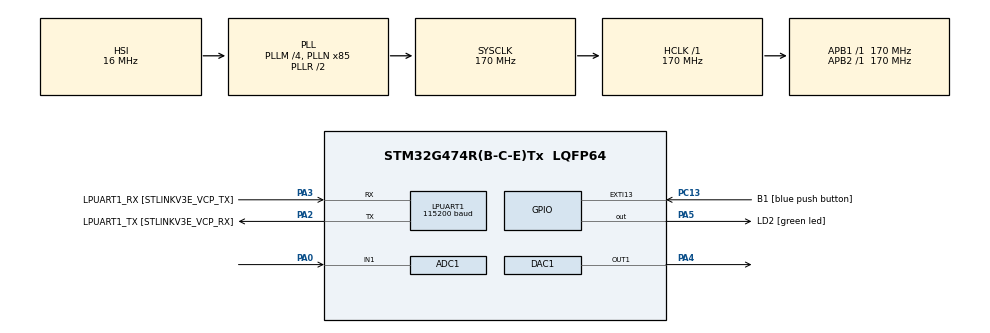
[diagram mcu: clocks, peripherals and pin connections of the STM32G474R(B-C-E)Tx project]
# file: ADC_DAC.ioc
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ADC1.Channel-0\#ChannelRegularConversion=ADC_CHANNEL_1
ADC1.NbrOfConversionFlag=1
ADC1.OffsetNumber-0\#ChannelRegularConversion=ADC_OFFSET_NONE
ADC1.Rank-0\#ChannelRegularConversion=1
ADC1.Resolution=ADC_RESOLUTION_10B
ADC1.SamplingTime-0\#ChannelRegularConversion=ADC_SAMPLETIME_2CYCLES_5
ADC1.master=1
LPUART1.BaudRate=115200
LPUART1.WordLength=UART_WORDLENGTH_8B
Mcu.Family=STM32G4
Mcu.Name=STM32G474R(B-C-E)Tx
Mcu.Package=LQFP64
NVIC.EXTI15_10_IRQn=true\:0\:0\:false\:false\:true\:true\:true\:true
NVIC.PriorityGroup=NVIC_PRIORITYGROUP_4
PA0.Mode=IN1-Single-Ended
PA0.Signal=ADC1_IN1
PA13.GPIO_Label=T_SWDIO
PA13.Mode=Serial_Wire
PA13.Signal=SYS_JTMS-SWDIO
PA14.GPIO_Label=T_SWCLK
PA14.Mode=Serial_Wire
PA14.Signal=SYS_JTCK-SWCLK
PA2.GPIO_Label=LPUART1_TX [STLINKV3E_VCP_RX]
PA2.Mode=Asynchronous
PA2.Signal=LPUART1_TX
PA3.GPIO_Label=LPUART1_RX [STLINKV3E_VCP_TX]
PA3.Mode=Asynchronous
PA3.Signal=LPUART1_RX
PA4.Signal=COMP_DAC11_group
PA5.GPIO_Label=LD2 [green led]
PA5.Signal=GPIO_Output
PB3.GPIO_Label=T_SWO
PB3.Signal=SYS_JTDO-SWO
PC13.GPIO_Label=B1 [blue push button]
PC13.Signal=GPXTI13
PC14-OSC32_IN.Mode=LSE-External-Oscillator
PC14-OSC32_IN.Signal=RCC_OSC32_IN
PC15-OSC32_OUT.Mode=LSE-External-Oscillator
PC15-OSC32_OUT.Signal=RCC_OSC32_OUT
PF0-OSC_IN.Mode=HSE-External-Oscillator
PF0-OSC_IN.Signal=RCC_OSC_IN
PF1-OSC_OUT.Mode=HSE-External-Oscillator
PF1-OSC_OUT.Signal=RCC_OSC_OUT
ProjectManager.HeapSize=0x200
ProjectManager.StackSize=0x400
ProjectManager.TargetToolchain=STM32CubeIDE
RCC.ADC12Freq_Value=170000000
RCC.ADC345Freq_Value=170000000
RCC.AHBFreq_Value=170000000
RCC.APB1Freq_Value=170000000
RCC.APB1TimFreq_Value=170000000
RCC.APB2Freq_Value=170000000
RCC.APB2TimFreq_Value=170000000
RCC.CortexFreq_Value=170000000
RCC.EXTERNAL_CLOCK_VALUE=12288000
RCC.HCLKFreq_Value=170000000
RCC.HSE_VALUE=24000000
RCC.HSI48_VALUE=48000000
RCC.HSI_VALUE=16000000
RCC.PLLM=RCC_PLLM_DIV4
RCC.PLLN=85
RCC.RTCClockSelection=RCC_RTCCLKSOURCE_LSE
RCC.SYSCLKFreq_VALUE=170000000
RCC.SYSCLKSource=RCC_SYSCLKSOURCE_PLLCLK
RCC.USBFreq_Value=170000000
RCC.VCOOutputFreq_Value=340000000
SH.COMP_DAC11_group.0=DAC1_OUT1,DAC_OUT1
VP_SYS_VS_DBSignals.Mode=DisableDeadBatterySignals
board=NUCLEO-G474RE

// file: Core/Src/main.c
/* USER CODE BEGIN Header */
/**
  ******************************************************************************
  * @file           : main.c
  * @brief          : Main program body
  ******************************************************************************
  * @attention
  *
  * Copyright (c) 2023 STMicroelectronics.
  * All rights reserved.
  *
  * This software is licensed under terms that can be found in the LICENSE file
  * in the root directory of this software component.
  * If no LICENSE file comes with this software, it is provided AS-IS.
  *
  ******************************************************************************
  */
/* USER CODE END Header */
#include "main.h"

ADC_HandleTypeDef hadc1;

DAC_HandleTypeDef hdac1;

UART_HandleTypeDef hlpuart1;

/* USER CODE BEGIN PV */
struct _ADC_tag
{
ADC_ChannelConfTypeDef Config;
uint16_t data;
};
struct _ADC_tag ADC1_Channel =
{

	.Config.Channel = ADC_CHANNEL_1,
	.Config.Rank = ADC_REGULAR_RANK_1,
	.Config.SamplingTime = ADC_SAMPLETIME_640CYCLES_5,
	.Config.SingleDiff = ADC_SINGLE_ENDED,
	.Config.OffsetNumber = ADC_OFFSET_NONE,
	.Config.Offset = 0,
	.data = 0

};
uint16_t DAC_Output=0;
float ADC_V_Read;
float Volt;
uint16_t DAC_Bit;
/* USER CODE END PV */

void SystemClock_Config(void);
static void MX_GPIO_Init(void);
static void MX_LPUART1_UART_Init(void);
static void MX_ADC1_Init(void);
static void MX_DAC1_Init(void);
/* USER CODE BEGIN PFP */
void ADC_Read_blocking();
void DAC_Update();
/* USER CODE END PFP */

int main(void)
{

  /* MCU Configuration--------------------------------------------------------*/

  /* Reset of all peripherals, Initializes the Flash interface and the Systick. */
  HAL_Init();

  /* Configure the system clock */
  SystemClock_Config();

  /* Initialize all configured peripherals */
  MX_GPIO_Init();
  MX_LPUART1_UART_Init();
  MX_ADC1_Init();
  MX_DAC1_Init();
  /* USER CODE BEGIN 2 */
  HAL_ADCEx_Calibration_Start(&hadc1, ADC_SINGLE_ENDED);
  HAL_DAC_SetValue(&hdac1, DAC_CHANNEL_1, DAC_ALIGN_12B_R, 2048);
  HAL_DAC_Start(&hdac1, DAC_CHANNEL_1);
  /* USER CODE END 2 */

  /* Infinite loop */
  while (1)
  {

    /* USER CODE BEGIN 3 */
	  ADC_Read_blocking();
	  DAC_Update();
  }
  /* USER CODE END 3 */
}

void SystemClock_Config(void)
{
  RCC_OscInitTypeDef RCC_OscInitStruct = {0};
  RCC_ClkInitTypeDef RCC_ClkInitStruct = {0};

  /** Configure the main internal regulator output voltage
  */
  HAL_PWREx_ControlVoltageScaling(PWR_REGULATOR_VOLTAGE_SCALE1_BOOST);

  /** Initializes the RCC Oscillators according to the specified parameters
  * in the RCC_OscInitTypeDef structure.
  */
  RCC_OscInitStruct.OscillatorType = RCC_OSCILLATORTYPE_HSI;
  RCC_OscInitStruct.HSIState = RCC_HSI_ON;
  RCC_OscInitStruct.HSICalibrationValue = RCC_HSICALIBRATION_DEFAULT;
  RCC_OscInitStruct.PLL.PLLState = RCC_PLL_ON;
  RCC_OscInitStruct.PLL.PLLSource = RCC_PLLSOURCE_HSI;
  RCC_OscInitStruct.PLL.PLLM = RCC_PLLM_DIV4;
  RCC_OscInitStruct.PLL.PLLN = 85;
  RCC_OscInitStruct.PLL.PLLP = RCC_PLLP_DIV2;
  RCC_OscInitStruct.PLL.PLLQ = RCC_PLLQ_DIV2;
  RCC_OscInitStruct.PLL.PLLR = RCC_PLLR_DIV2;
  if (HAL_RCC_OscConfig(&RCC_OscInitStruct) != HAL_OK)
  {
    Error_Handler();
  }

  /** Initializes the CPU, AHB and APB buses clocks
  */
  RCC_ClkInitStruct.ClockType = RCC_CLOCKTYPE_HCLK|RCC_CLOCKTYPE_SYSCLK
                              |RCC_CLOCKTYPE_PCLK1|RCC_CLOCKTYPE_PCLK2;
  RCC_ClkInitStruct.SYSCLKSource = RCC_SYSCLKSOURCE_PLLCLK;
  RCC_ClkInitStruct.AHBCLKDivider = RCC_SYSCLK_DIV1;
  RCC_ClkInitStruct.APB1CLKDivider = RCC_HCLK_DIV1;
  RCC_ClkInitStruct.APB2CLKDivider = RCC_HCLK_DIV1;

  if (HAL_RCC_ClockConfig(&RCC_ClkInitStruct, FLASH_LATENCY_4) != HAL_OK)
  {
    Error_Handler();
  }
}

static void MX_ADC1_Init(void)
{

  ADC_MultiModeTypeDef multimode = {0};
  ADC_ChannelConfTypeDef sConfig = {0};

  /** Common config
  */
  hadc1.Instance = ADC1;
  hadc1.Init.ClockPrescaler = ADC_CLOCK_SYNC_PCLK_DIV4;
  hadc1.Init.Resolution = ADC_RESOLUTION_10B;
  hadc1.Init.DataAlign = ADC_DATAALIGN_RIGHT;
  hadc1.Init.GainCompensation = 0;
  hadc1.Init.ScanConvMode = ADC_SCAN_DISABLE;
  hadc1.Init.EOCSelection = ADC_EOC_SINGLE_CONV;
  hadc1.Init.LowPowerAutoWait = DISABLE;
  hadc1.Init.ContinuousConvMode = DISABLE;
  hadc1.Init.NbrOfConversion = 1;
  hadc1.Init.DiscontinuousConvMode = DISABLE;
  hadc1.Init.ExternalTrigConv = ADC_SOFTWARE_START;
  hadc1.Init.ExternalTrigConvEdge = ADC_EXTERNALTRIGCONVEDGE_NONE;
  hadc1.Init.DMAContinuousRequests = DISABLE;
  hadc1.Init.Overrun = ADC_OVR_DATA_PRESERVED;
  hadc1.Init.OversamplingMode = DISABLE;
  if (HAL_ADC_Init(&hadc1) != HAL_OK)
  {
    Error_Handler();
  }

  /** Configure the ADC multi-mode
  */
  multimode.Mode = ADC_MODE_INDEPENDENT;
  if (HAL_ADCEx_MultiModeConfigChannel(&hadc1, &multimode) != HAL_OK)
  {
    Error_Handler();
  }

  /** Configure Regular Channel
  */
  sConfig.Channel = ADC_CHANNEL_1;
  sConfig.Rank = ADC_REGULAR_RANK_1;
  sConfig.SamplingTime = ADC_SAMPLETIME_2CYCLES_5;
  sConfig.SingleDiff = ADC_SINGLE_ENDED;
  sConfig.OffsetNumber = ADC_OFFSET_NONE;
  sConfig.Offset = 0;
  if (HAL_ADC_ConfigChannel(&hadc1, &sConfig) != HAL_OK)
  {
    Error_Handler();
  }

}

static void MX_DAC1_Init(void)
{

  DAC_ChannelConfTypeDef sConfig = {0};

  /** DAC Initialization
  */
  hdac1.Instance = DAC1;
  if (HAL_DAC_Init(&hdac1) != HAL_OK)
  {
    Error_Handler();
  }

  /** DAC channel OUT1 config
  */
  sConfig.DAC_HighFrequency = DAC_HIGH_FREQUENCY_INTERFACE_MODE_AUTOMATIC;
  sConfig.DAC_DMADoubleDataMode = DISABLE;
  sConfig.DAC_SignedFormat = DISABLE;
  sConfig.DAC_SampleAndHold = DAC_SAMPLEANDHOLD_DISABLE;
  sConfig.DAC_Trigger = DAC_TRIGGER_NONE;
  sConfig.DAC_Trigger2 = DAC_TRIGGER_NONE;
  sConfig.DAC_OutputBuffer = DAC_OUTPUTBUFFER_ENABLE;
  sConfig.DAC_ConnectOnChipPeripheral = DAC_CHIPCONNECT_EXTERNAL;
  sConfig.DAC_UserTrimming = DAC_TRIMMING_FACTORY;
  if (HAL_DAC_ConfigChannel(&hdac1, &sConfig, DAC_CHANNEL_1) != HAL_OK)
  {
    Error_Handler();
  }

}

static void MX_LPUART1_UART_Init(void)
{

  hlpuart1.Instance = LPUART1;
  hlpuart1.Init.BaudRate = 115200;
  hlpuart1.Init.WordLength = UART_WORDLENGTH_8B;
  hlpuart1.Init.StopBits = UART_STOPBITS_1;
  hlpuart1.Init.Parity = UART_PARITY_NONE;
  hlpuart1.Init.Mode = UART_MODE_TX_RX;
  hlpuart1.Init.HwFlowCtl = UART_HWCONTROL_NONE;
  hlpuart1.Init.OneBitSampling = UART_ONE_BIT_SAMPLE_DISABLE;
  hlpuart1.Init.ClockPrescaler = UART_PRESCALER_DIV1;
  hlpuart1.AdvancedInit.AdvFeatureInit = UART_ADVFEATURE_NO_INIT;
  if (HAL_UART_Init(&hlpuart1) != HAL_OK)
  {
    Error_Handler();
  }
  if (HAL_UARTEx_SetTxFifoThreshold(&hlpuart1, UART_TXFIFO_THRESHOLD_1_8) != HAL_OK)
  {
    Error_Handler();
  }
  if (HAL_UARTEx_SetRxFifoThreshold(&hlpuart1, UART_RXFIFO_THRESHOLD_1_8) != HAL_OK)
  {
    Error_Handler();
  }
  if (HAL_UARTEx_DisableFifoMode(&hlpuart1) != HAL_OK)
  {
    Error_Handler();
  }

}

static void MX_GPIO_Init(void)
{
  GPIO_InitTypeDef GPIO_InitStruct = {0};

  /* GPIO Ports Clock Enable */
  __HAL_RCC_GPIOC_CLK_ENABLE();
  __HAL_RCC_GPIOF_CLK_ENABLE();
  __HAL_RCC_GPIOA_CLK_ENABLE();
  __HAL_RCC_GPIOB_CLK_ENABLE();

  /*Configure GPIO pin Output Level */
  HAL_GPIO_WritePin(LD2_GPIO_Port, LD2_Pin, GPIO_PIN_RESET);

  /*Configure GPIO pin : B1_Pin */
  GPIO_InitStruct.Pin = B1_Pin;
  GPIO_InitStruct.Mode = GPIO_MODE_IT_RISING;
  GPIO_InitStruct.Pull = GPIO_NOPULL;
  HAL_GPIO_Init(B1_GPIO_Port, &GPIO_InitStruct);

  /*Configure GPIO pin : LD2_Pin */
  GPIO_InitStruct.Pin = LD2_Pin;
  GPIO_InitStruct.Mode = GPIO_MODE_OUTPUT_PP;
  GPIO_InitStruct.Pull = GPIO_NOPULL;
  GPIO_InitStruct.Speed = GPIO_SPEED_FREQ_LOW;
  HAL_GPIO_Init(LD2_GPIO_Port, &GPIO_InitStruct);

  /* EXTI interrupt init*/
  HAL_NVIC_SetPriority(EXTI15_10_IRQn, 0, 0);
  HAL_NVIC_EnableIRQ(EXTI15_10_IRQn);

}

/* USER CODE BEGIN 4 */
void ADC_Read_blocking()
{
	static uint32_t TimeStamp = 0;
	if( HAL_GetTick()<TimeStamp) return;
	TimeStamp = HAL_GetTick()+500;
	HAL_ADC_ConfigChannel(&hadc1, &ADC1_Channel.Config);
	HAL_ADC_Start(&hadc1);
	HAL_ADC_PollForConversion(&hadc1, 100);
	ADC1_Channel.data = HAL_ADC_GetValue(&hadc1);
	ADC_V_Read = (3.3/1024)*1000*ADC1_Channel.data;
	HAL_ADC_Stop(&hadc1);
}
void DAC_Update()
{
	GPIO_PinState B1 = HAL_GPIO_ReadPin(GPIOC, GPIO_PIN_13);
	static uint32_t timeStamp =0;
	if(HAL_GetTick()>timeStamp)
	{
	timeStamp = HAL_GetTick()+750;
	if(B1 == 0){
		DAC_Bit = (Volt*4096)/(3.3*1000);
	}
	else if(B1 == 1){
		DAC_Bit = (ADC_V_Read*4096)/(3.3*1000);
	}
//	Volt = (3.3/4096)*1000*DAC_Bit;
	HAL_DAC_SetValue(&hdac1, DAC_CHANNEL_1, DAC_ALIGN_12B_R, DAC_Bit);
	}
}
/* USER CODE END 4 */

void Error_Handler(void)
{
  __disable_irq();
  while (1)
  {
  }
}
